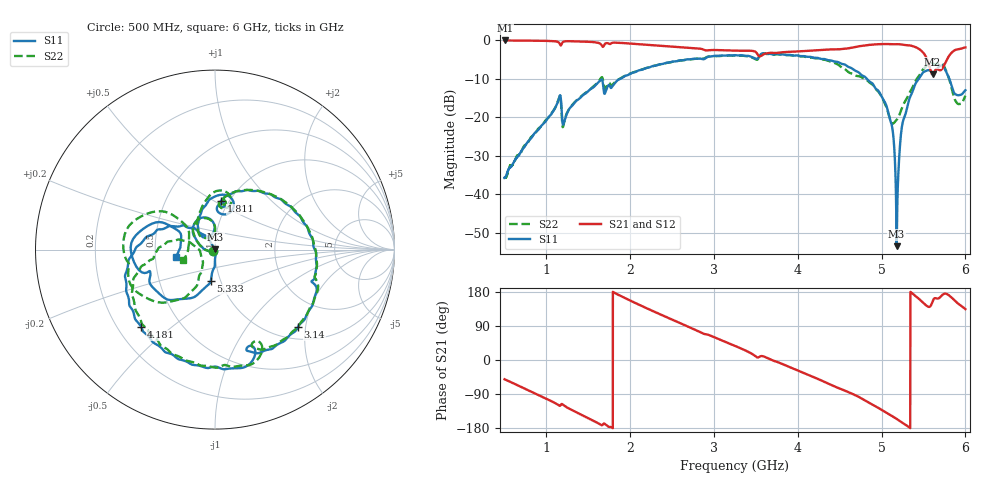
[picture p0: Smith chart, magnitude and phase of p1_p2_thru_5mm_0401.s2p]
# Hz S DB R 50
! CMT, C2409, 19096212, 19.2.3/2
! Date: 4/1/2022 3:32:50 AM
! Data: Format (Calibration Info)
! Freq	S11:dB/Ang(F2)	S21:dB/Ang(F2)	S12:dB/Ang(F2)	S22:dB/Ang(F2)
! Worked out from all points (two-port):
!   5001 points, 500 MHz to 6 GHz, reference 50 ohm
!   highest |S21| = -0.07 dB at 501.7 MHz (marker M1); lowest = -8.9 dB at 5.608 GHz (marker M2)
!   |S21| within 3 dB of the highest: start of sweep to 3.498 GHz; 3.855 GHz to 5.489 GHz (1.634 GHz wide, 35 % of centre)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
!   lowest |S11| = -53.5 dB at 5.179 GHz (marker M3), VSWR 1.00, Z = 50.1 + j0.156 ohm
!   |S11| at or under -10 dB: start of sweep to 1.889 GHz; 4.822 GHz to 5.445 GHz (622.7 MHz wide, 12.1 % of centre); 5.808 GHz to end of sweep
!   |S22| runs from -35.7 to -3.5 dB; largest |S21 - S12| = 0.0081
!   S11 on the Smith chart (normalised r, x): 500 MHz: 0.97, -0.02; 1.811 GHz: 0.92, +0.54; 3.14 GHz: 1.26, -1.81; 4.181 GHz: 0.30, -0.40; 5.333 GHz: 0.90, -0.32; 6 GHz: 0.64, -0.06
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5e8  -35.78 -144.1  -0.07 -50.9  -0.08 -50.9  -35.59 -146.0
5.017425e8  -35.75 -144.8  -0.07 -51.1  -0.07 -51.1  -35.55 -146.2
9.427077e8  -22.10 167.2  -0.16 -96.2  -0.17 -96.3  -22.19 167.1
1.156341e9  -14.50 125.5  -0.89 -120.9  -0.91 -121.0  -14.53 124.7
1.200255e9  -21.87 119.9  -0.42 -118.7  -0.44 -118.8  -22.33 122.0
1.416977e9  -14.64 119.3  -0.35 -144.4  -0.37 -144.5  -14.54 121.7
1.811281e9  -11.30 83.2  -0.64 177.4  -0.67 177.4  -11.00 81.3
2.333793e9  -6.37 30.6  -1.39 122.8  -1.42 122.9  -6.38 31.9
2.703646e9  -4.97 -4.1  -2.00 86.9  -2.02 87.2  -4.99 -2.1
3.139906e9  -3.98 -43.1  -2.64 47.3  -2.62 47.7  -4.05 -40.4
3.251061e9  -3.89 -53.0  -2.71 37.1  -2.67 37.4  -3.96 -50.0
3.64656e9  -3.49 -85.0  -3.34 4.4  -3.28 4.7  -3.58 -80.4
4.168149e9  -4.43 -132.6  -2.71 -43.1  -2.62 -43.0  -4.53 -127.2
4.180597e9  -4.51 -133.7  -2.67 -44.2  -2.59 -44.2  -4.58 -128.3
4.75016e9  -8.88 166.6  -1.52 -100.3  -1.47 -100.3  -9.50 -175.9
5.084846e9  -19.31 128.5  -1.02 -142.9  -1.00 -143.0  -19.33 171.9
5.179212e9  -53.46 47.0  -1.04 -155.4  -1.02 -155.4  -20.71 -138.3
5.333325e9  -15.14 -97.6  -1.35 -178.4  -1.33 -178.2  -13.66 -117.2
5.494754e9  -8.37 -132.9  -3.20 151.5  -3.15 151.5  -7.59 -135.0
5.607865e9  -8.33 -160.0  -8.89 154.4  -8.83 154.3  -6.05 -165.8
5.780475e9  -8.66 156.1  -4.97 173.9  -4.92 174.0  -8.53 145.1
6e9  -12.99 -167.9  -1.88 134.2  -1.85 134.1  -14.40 -160.6
